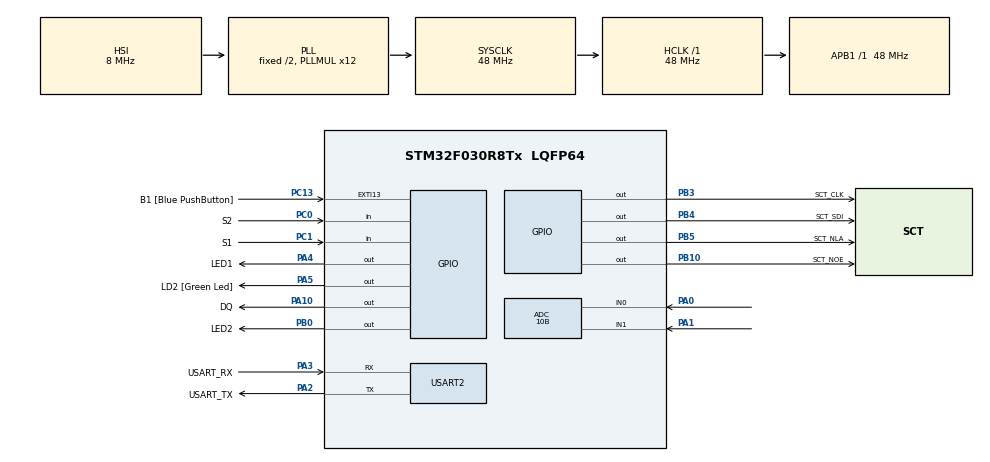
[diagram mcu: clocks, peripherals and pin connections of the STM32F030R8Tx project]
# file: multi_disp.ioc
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ADC.ContinuousConvMode=ENABLE
ADC.Overrun=ADC_OVR_DATA_OVERWRITTEN
ADC.Resolution=ADC_RESOLUTION_10B
Mcu.Family=STM32F0
Mcu.Name=STM32F030R8Tx
Mcu.Package=LQFP64
NVIC.ADC1_IRQn=true\:0\:0\:false\:false\:true\:true\:true\:true
PA0.Mode=IN0
PA0.Signal=ADC_IN0
PA1.Mode=IN1
PA1.Signal=ADC_IN1
PA10.GPIO_Label=DQ
PA10.GPIO_ModeDefaultOutputPP=GPIO_MODE_OUTPUT_OD
PA10.GPIO_PuPd=GPIO_NOPULL
PA10.Signal=GPIO_Output
PA13.GPIO_Label=TMS
PA13.Mode=Serial_Wire
PA13.Signal=SYS_SWDIO
PA14.GPIO_Label=TCK
PA14.Mode=Serial_Wire
PA14.Signal=SYS_SWCLK
PA2.GPIO_Label=USART_TX
PA2.GPIO_Mode=GPIO_MODE_AF_PP
PA2.GPIO_PuPd=GPIO_NOPULL
PA2.GPIO_Speed=GPIO_SPEED_FREQ_LOW
PA2.Mode=Asynchronous
PA2.Signal=USART2_TX
PA3.GPIO_Label=USART_RX
PA3.GPIO_Mode=GPIO_MODE_AF_PP
PA3.GPIO_PuPd=GPIO_NOPULL
PA3.GPIO_Speed=GPIO_SPEED_FREQ_LOW
PA3.Mode=Asynchronous
PA3.Signal=USART2_RX
PA4.GPIO_Label=LED1
PA4.Signal=GPIO_Output
PA5.GPIO_Label=LD2 [Green Led]
PA5.GPIO_Mode=GPIO_MODE_OUTPUT_PP
PA5.GPIO_PuPd=GPIO_NOPULL
PA5.GPIO_Speed=GPIO_SPEED_FREQ_LOW
PA5.Signal=GPIO_Output
PB0.GPIO_Label=LED2
PB0.Signal=GPIO_Output
PB10.GPIO_Label=SCT_NOE
PB10.Signal=GPIO_Output
PB3.GPIO_Label=SCT_CLK
PB3.Signal=GPIO_Output
PB4.GPIO_Label=SCT_SDI
PB4.Signal=GPIO_Output
PB5.GPIO_Label=SCT_NLA
PB5.Signal=GPIO_Output
PC0.GPIO_Label=S2
PC0.GPIO_PuPd=GPIO_PULLUP
PC0.Signal=GPIO_Input
PC1.GPIO_Label=S1
PC1.GPIO_PuPd=GPIO_PULLUP
PC1.Signal=GPIO_Input
PC13.GPIO_Label=B1 [Blue PushButton]
PC13.GPIO_ModeDefaultEXTI=GPIO_MODE_IT_FALLING
PC13.Signal=GPXTI13
PC14-OSC32_IN.Mode=LSE-External-Oscillator
PC14-OSC32_IN.Signal=RCC_OSC32_IN
PC15-OSC32_OUT.Mode=LSE-External-Oscillator
PC15-OSC32_OUT.Signal=RCC_OSC32_OUT
PF0-OSC_IN.Mode=HSE-External-Clock-Source
PF0-OSC_IN.Signal=RCC_OSC_IN
PF1-OSC_OUT.Signal=RCC_OSC_OUT
ProjectManager.HeapSize=0x200
ProjectManager.StackSize=0x400
ProjectManager.TargetToolchain=STM32CubeIDE
RCC.AHBFreq_Value=48000000
RCC.APB1Freq_Value=48000000
RCC.APB1TimFreq_Value=48000000
RCC.HCLKFreq_Value=48000000
RCC.PLLMUL=RCC_PLL_MUL12
RCC.SYSCLKFreq_VALUE=48000000
RCC.SYSCLKSource=RCC_SYSCLKSOURCE_PLLCLK
USART2.VirtualMode-Asynchronous=VM_ASYNC
board=NUCLEO-F030R8

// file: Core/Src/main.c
/* USER CODE BEGIN Header */
/**
 ******************************************************************************
 * @file           : main.c
 * @brief          : Main program body
 ******************************************************************************
 * @attention
 *
 * Copyright (c) 2024 STMicroelectronics.
 * All rights reserved.
 *
 * This software is licensed under terms that can be found in the LICENSE file
 * in the root directory of this software component.
 * If no LICENSE file comes with this software, it is provided AS-IS.
 *
 ******************************************************************************
 */
/* USER CODE END Header */
#include "main.h"

/* USER CODE BEGIN Includes */
#include "sct.h"
#include "1wire.h"

/* USER CODE END Includes */

/* USER CODE BEGIN PD */
#define CONVERT_T_DELAY 750
#define NONBLOCK_DELAY 80
#define SCREEN_TIME 5000
/* USER CODE END PD */

ADC_HandleTypeDef hadc;

UART_HandleTypeDef huart2;

/* USER CODE BEGIN PV */
static volatile uint32_t raw_pot;
/* USER CODE END PV */

void SystemClock_Config(void);
static void MX_GPIO_Init(void);
static void MX_USART2_UART_Init(void);
static void MX_ADC_Init(void);

int main(void)
{

  /* MCU Configuration--------------------------------------------------------*/

  /* Reset of all peripherals, Initializes the Flash interface and the Systick. */
  HAL_Init();

  /* Configure the system clock */
  SystemClock_Config();

  /* Initialize all configured peripherals */
  MX_GPIO_Init();
  MX_USART2_UART_Init();
  MX_ADC_Init();
  /* USER CODE BEGIN 2 */
	OWInit();
	// optional init
	sct_init();
	HAL_ADCEx_Calibration_Start(&hadc);
	HAL_ADC_Start(&hadc);

	uint32_t delay = 0;
	//uint32_t delay2 = 0;

  /* USER CODE END 2 */

  /* Infinite loop */
	while (1)
	{

    /* USER CODE BEGIN 3 */
		int16_t temp_18b20;
		int16_t rescaled_pot;
		static uint32_t ADC_value;
		static const int16_t ntc_lookup[] = {
			#include "data.dlm"
		};
		rescaled_pot = 330 * (1023) / raw_volt;
		static enum {DS12B20,NTC,POT} state = DS12B20;

		switch (state){

		case DS12B20:
			OWConvertAll();
			OWReadTemperature(&temp_18b20);
			sct_value(temp_18b20/10, 8,2);
			HAL_GPIO_WritePin(LED2_GPIO_Port, LED2_Pin, 1);
			HAL_GPIO_WritePin(LED1_GPIO_Port, LED1_Pin, 0);
			break;
		case NTC:
			ADC_value =  HAL_ADC_GetValue(&hadc);
			sct_value(ntc_lookup[ADC_value], 1,2);
			HAL_GPIO_WritePin(LED2_GPIO_Port, LED2_Pin, 0);
			HAL_GPIO_WritePin(LED1_GPIO_Port, LED1_Pin, 1);
			break;
		case POT:
			sct_value(rescaled_pot,1,1);
			break;
		}

		HAL_Delay(CONVERT_T_DELAY);

		if (HAL_GetTick() > delay + NONBLOCK_DELAY){
			if (HAL_GPIO_ReadPin(S1_GPIO_Port, S1_Pin) == 0){
				state = DS12B20;
				delay = HAL_GetTick();
			}
			if (HAL_GPIO_ReadPin(S2_GPIO_Port, S2_Pin) == 0){
				state = POT;
				delay = HAL_GetTick();
			}

		}

		if (HAL_GetTick() > delay + SCREEN_TIME){
			state = DS12B20;
			delay = HAL_GetTick();
		}

	}
  /* USER CODE END 3 */
}

void SystemClock_Config(void)
{
  RCC_OscInitTypeDef RCC_OscInitStruct = {0};
  RCC_ClkInitTypeDef RCC_ClkInitStruct = {0};

  /** Initializes the RCC Oscillators according to the specified parameters
  * in the RCC_OscInitTypeDef structure.
  */
  RCC_OscInitStruct.OscillatorType = RCC_OSCILLATORTYPE_HSI|RCC_OSCILLATORTYPE_HSI14;
  RCC_OscInitStruct.HSIState = RCC_HSI_ON;
  RCC_OscInitStruct.HSI14State = RCC_HSI14_ON;
  RCC_OscInitStruct.HSICalibrationValue = RCC_HSICALIBRATION_DEFAULT;
  RCC_OscInitStruct.HSI14CalibrationValue = 16;
  RCC_OscInitStruct.PLL.PLLState = RCC_PLL_ON;
  RCC_OscInitStruct.PLL.PLLSource = RCC_PLLSOURCE_HSI;
  RCC_OscInitStruct.PLL.PLLMUL = RCC_PLL_MUL12;
  RCC_OscInitStruct.PLL.PREDIV = RCC_PREDIV_DIV1;
  if (HAL_RCC_OscConfig(&RCC_OscInitStruct) != HAL_OK)
  {
    Error_Handler();
  }

  /** Initializes the CPU, AHB and APB buses clocks
  */
  RCC_ClkInitStruct.ClockType = RCC_CLOCKTYPE_HCLK|RCC_CLOCKTYPE_SYSCLK
                              |RCC_CLOCKTYPE_PCLK1;
  RCC_ClkInitStruct.SYSCLKSource = RCC_SYSCLKSOURCE_PLLCLK;
  RCC_ClkInitStruct.AHBCLKDivider = RCC_SYSCLK_DIV1;
  RCC_ClkInitStruct.APB1CLKDivider = RCC_HCLK_DIV1;

  if (HAL_RCC_ClockConfig(&RCC_ClkInitStruct, FLASH_LATENCY_1) != HAL_OK)
  {
    Error_Handler();
  }
}

static void MX_ADC_Init(void)
{

  ADC_ChannelConfTypeDef sConfig = {0};

  /** Configure the global features of the ADC (Clock, Resolution, Data Alignment and number of conversion)
  */
  hadc.Instance = ADC1;
  hadc.Init.ClockPrescaler = ADC_CLOCK_ASYNC_DIV1;
  hadc.Init.Resolution = ADC_RESOLUTION_10B;
  hadc.Init.DataAlign = ADC_DATAALIGN_RIGHT;
  hadc.Init.ScanConvMode = ADC_SCAN_DIRECTION_FORWARD;
  hadc.Init.EOCSelection = ADC_EOC_SINGLE_CONV;
  hadc.Init.LowPowerAutoWait = DISABLE;
  hadc.Init.LowPowerAutoPowerOff = DISABLE;
  hadc.Init.ContinuousConvMode = ENABLE;
  hadc.Init.DiscontinuousConvMode = DISABLE;
  hadc.Init.ExternalTrigConv = ADC_SOFTWARE_START;
  hadc.Init.ExternalTrigConvEdge = ADC_EXTERNALTRIGCONVEDGE_NONE;
  hadc.Init.DMAContinuousRequests = DISABLE;
  hadc.Init.Overrun = ADC_OVR_DATA_OVERWRITTEN;
  if (HAL_ADC_Init(&hadc) != HAL_OK)
  {
    Error_Handler();
  }

  /** Configure for the selected ADC regular channel to be converted.
  */
  sConfig.Channel = ADC_CHANNEL_0;
  sConfig.Rank = ADC_RANK_CHANNEL_NUMBER;
  sConfig.SamplingTime = ADC_SAMPLETIME_1CYCLE_5;
  if (HAL_ADC_ConfigChannel(&hadc, &sConfig) != HAL_OK)
  {
    Error_Handler();
  }

  /** Configure for the selected ADC regular channel to be converted.
  */
  sConfig.Channel = ADC_CHANNEL_1;
  if (HAL_ADC_ConfigChannel(&hadc, &sConfig) != HAL_OK)
  {
    Error_Handler();
  }

}

static void MX_USART2_UART_Init(void)
{

  huart2.Instance = USART2;
  huart2.Init.BaudRate = 38400;
  huart2.Init.WordLength = UART_WORDLENGTH_8B;
  huart2.Init.StopBits = UART_STOPBITS_1;
  huart2.Init.Parity = UART_PARITY_NONE;
  huart2.Init.Mode = UART_MODE_TX_RX;
  huart2.Init.HwFlowCtl = UART_HWCONTROL_NONE;
  huart2.Init.OverSampling = UART_OVERSAMPLING_16;
  huart2.Init.OneBitSampling = UART_ONE_BIT_SAMPLE_DISABLE;
  huart2.AdvancedInit.AdvFeatureInit = UART_ADVFEATURE_NO_INIT;
  if (HAL_UART_Init(&huart2) != HAL_OK)
  {
    Error_Handler();
  }

}

static void MX_GPIO_Init(void)
{
  GPIO_InitTypeDef GPIO_InitStruct = {0};

  /* GPIO Ports Clock Enable */
  __HAL_RCC_GPIOC_CLK_ENABLE();
  __HAL_RCC_GPIOF_CLK_ENABLE();
  __HAL_RCC_GPIOA_CLK_ENABLE();
  __HAL_RCC_GPIOB_CLK_ENABLE();

  /*Configure GPIO pin Output Level */
  HAL_GPIO_WritePin(GPIOA, LED1_Pin|LD2_Pin|DQ_Pin, GPIO_PIN_RESET);

  /*Configure GPIO pin Output Level */
  HAL_GPIO_WritePin(GPIOB, LED2_Pin|SCT_NOE_Pin|SCT_CLK_Pin|SCT_SDI_Pin
                          |SCT_NLA_Pin, GPIO_PIN_RESET);

  /*Configure GPIO pin : B1_Pin */
  GPIO_InitStruct.Pin = B1_Pin;
  GPIO_InitStruct.Mode = GPIO_MODE_IT_FALLING;
  GPIO_InitStruct.Pull = GPIO_NOPULL;
  HAL_GPIO_Init(B1_GPIO_Port, &GPIO_InitStruct);

  /*Configure GPIO pins : S2_Pin S1_Pin */
  GPIO_InitStruct.Pin = S2_Pin|S1_Pin;
  GPIO_InitStruct.Mode = GPIO_MODE_INPUT;
  GPIO_InitStruct.Pull = GPIO_PULLUP;
  HAL_GPIO_Init(GPIOC, &GPIO_InitStruct);

  /*Configure GPIO pins : LED1_Pin LD2_Pin */
  GPIO_InitStruct.Pin = LED1_Pin|LD2_Pin;
  GPIO_InitStruct.Mode = GPIO_MODE_OUTPUT_PP;
  GPIO_InitStruct.Pull = GPIO_NOPULL;
  GPIO_InitStruct.Speed = GPIO_SPEED_FREQ_LOW;
  HAL_GPIO_Init(GPIOA, &GPIO_InitStruct);

  /*Configure GPIO pins : LED2_Pin SCT_NOE_Pin SCT_CLK_Pin SCT_SDI_Pin
                           SCT_NLA_Pin */
  GPIO_InitStruct.Pin = LED2_Pin|SCT_NOE_Pin|SCT_CLK_Pin|SCT_SDI_Pin
                          |SCT_NLA_Pin;
  GPIO_InitStruct.Mode = GPIO_MODE_OUTPUT_PP;
  GPIO_InitStruct.Pull = GPIO_NOPULL;
  GPIO_InitStruct.Speed = GPIO_SPEED_FREQ_LOW;
  HAL_GPIO_Init(GPIOB, &GPIO_InitStruct);

  /*Configure GPIO pin : DQ_Pin */
  GPIO_InitStruct.Pin = DQ_Pin;
  GPIO_InitStruct.Mode = GPIO_MODE_OUTPUT_OD;
  GPIO_InitStruct.Pull = GPIO_NOPULL;
  GPIO_InitStruct.Speed = GPIO_SPEED_FREQ_LOW;
  HAL_GPIO_Init(DQ_GPIO_Port, &GPIO_InitStruct);

}

/* USER CODE BEGIN 4 */
void HAL_ADC_ConvCpltCallback(ADC_HandleTypeDef* hadc){
 raw_pot = HAL_ADC_GetValue(hadc);
}

/* USER CODE END 4 */

void Error_Handler(void)
{
	__disable_irq();
	while (1)
	{
	}
}
